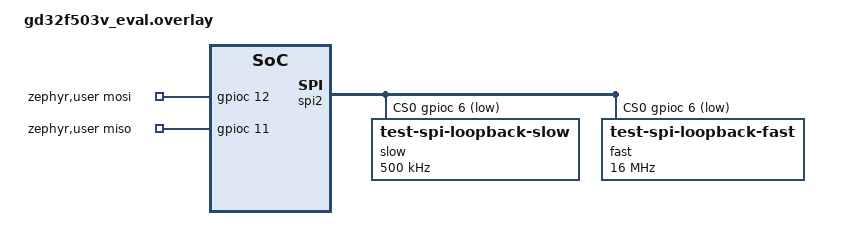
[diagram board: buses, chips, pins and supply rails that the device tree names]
/*
 * Copyright (c) 2026 GigaDevice Semiconductor Inc.
 *
 * SPDX-License-Identifier: Apache-2.0
 */

/*
 * SPI0 (PA5/PA6/PA7 + PA4 CS) is reserved for the on-board GD25Q16 NOR flash
 * used by the flash test, so the SPI loopback runs on SPI2 with a dedicated set
 * of free GPIOC pins:
 *   SCK  = PC10
 *   MISO = PC11
 *   MOSI = PC12
 * The fixture must short MOSI (PC12) to MISO (PC11) for the loopback transfers.
 */

/ {
	zephyr,user {
		/* PC12 (MOSI) is shorted to PC11 (MISO) for the deinit test. */
		mosi-gpios = <&gpioc 12 GPIO_ACTIVE_HIGH>;
		miso-gpios = <&gpioc 11 GPIO_ACTIVE_HIGH>;
	};
};

/* The NOR flash lives on SPI0; keep it out of the loopback build. */
&nor_flash {
	status = "disabled";
};

&pinctrl {
	spi2_default: spi2_default {
		group1 {
			pinmux = <SPI2_SCK_PC10>, <SPI2_MOSI_PC12>,
				 <SPI2_MISO_PC11>;
		};
	};
};

&spi2 {
	status = "okay";
	pinctrl-0 = <&spi2_default>;
	pinctrl-names = "default";
	cs-gpios = <&gpioc 6 GPIO_ACTIVE_LOW>;

	slow@0 {
		compatible = "test-spi-loopback-slow";
		reg = <0>;
		spi-max-frequency = <500000>;
	};

	fast@0 {
		compatible = "test-spi-loopback-fast";
		reg = <0>;
		spi-max-frequency = <16000000>;
	};
};
